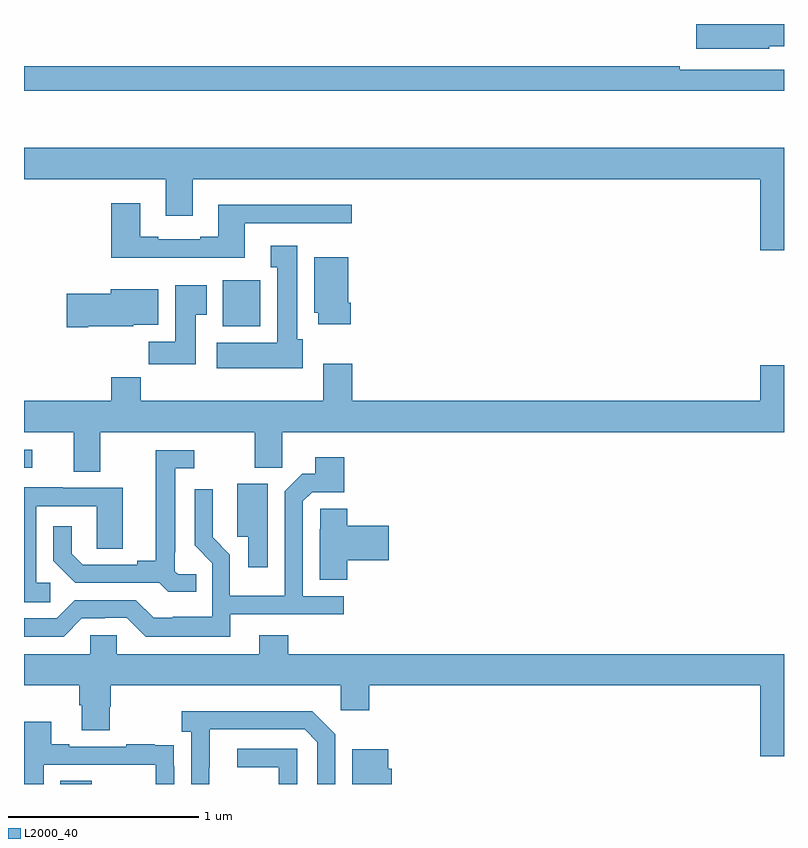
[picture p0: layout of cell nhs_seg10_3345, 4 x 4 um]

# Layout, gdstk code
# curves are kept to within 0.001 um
import gdstk
lib = gdstk.Library(unit=1e-6, precision=1e-09)
def R(c, l, rs):  # rectangles x0, y0, x1, y1
    for r in rs: c.add(gdstk.rectangle(r[:2], r[2:], *l))
def P(c, l, *ps):  # polygons
    for p in ps: c.add(gdstk.Polygon(p, *l))
L2000_40 = (2000, 40)

nhs_seg10_3345 = lib.new_cell('nhs_seg10_3345')
R(nhs_seg10_3345, L2000_40, [(293.192,1262.5,293.356,1262.516), (293,1264.164,293.044,1264.26), (294.047,1264.91,294.244,1265.152)])
P(nhs_seg10_3345, L2000_40, [(296.922,1266.384),(297,1266.384),(297,1266.5),(296.538,1266.5),(296.538,1266.371),(296.922,1266.371)],
  [(297,1266.258),(296.45,1266.258),(296.45,1266.278),(293,1266.278),(293,1266.15),(297,1266.15)],
  [(297,1265.848),(293,1265.848),(293,1265.684),(293.747,1265.684),(293.747,1265.49),(293.887,1265.49),(293.887,1265.684),(296.876,1265.684),(296.876,1265.31),(297,1265.31)],
  [(294.163,1265.451),(294.724,1265.451),(294.724,1265.548),(294.023,1265.548),(294.023,1265.38),(293.927,1265.38),(293.927,1265.367),(293.707,1265.367),(293.707,1265.38),(293.611,1265.38),(293.611,1265.557),(293.459,1265.557),(293.459,1265.27),(294.163,1265.27)],
  [(294.466,1264.842),(294.439,1264.842),(294.439,1265.332),(294.299,1265.332),(294.299,1265.219),(294.332,1265.219),(294.332,1264.822),(294.015,1264.822),(294.015,1264.688),(294.466,1264.688)],
  [(294.719,1265.032),(294.706,1265.032),(294.706,1265.272),(294.527,1265.272),(294.527,1264.98),(294.548,1264.98),(294.548,1264.92),(294.719,1264.92)],
  [(293.905,1264.969),(293.962,1264.969),(293.962,1265.125),(293.795,1265.125),(293.795,1264.828),(293.656,1264.828),(293.656,1264.71),(293.905,1264.71)],
  [(293.338,1264.91),(293.574,1264.91),(293.574,1264.916),(293.707,1264.916),(293.707,1265.104),(293.456,1265.104),(293.456,1265.081),(293.226,1265.081),(293.226,1264.903),(293.338,1264.903)],
  [(293.401,1264.352),(294.214,1264.352),(294.214,1264.165),(294.36,1264.165),(294.36,1264.352),(297,1264.352),(297,1264.705),(296.876,1264.705),(296.876,1264.516),(294.728,1264.516),(294.728,1264.711),(294.575,1264.711),(294.575,1264.516),(293.615,1264.516),(293.615,1264.64),(293.459,1264.64),(293.459,1264.516),(293,1264.516),(293,1264.352),(293.261,1264.352),(293.261,1264.144),(293.401,1264.144)],
  [(293.906,1263.603),(293.811,1263.603),(293.793,1263.621),(293.793,1263.721),(293.797,1263.721),(293.797,1264.161),(293.896,1264.161),(293.896,1264.257),(293.693,1264.257),(293.693,1263.674),(293.597,1263.674),(293.597,1263.654),(293.308,1263.654),(293.251,1263.711),(293.251,1263.856),(293.154,1263.856),(293.154,1263.674),(293.27,1263.558),(293.712,1263.558),(293.76,1263.511),(293.906,1263.511)],
  [(294.085,1263.393),(294.682,1263.393),(294.682,1263.489),(294.468,1263.489),(294.468,1263.987),(294.516,1264.035),(294.686,1264.035),(294.686,1264.219),(294.533,1264.219),(294.533,1264.134),(294.465,1264.134),(294.372,1264.041),(294.372,1263.49),(294.084,1263.49),(294.084,1263.706),(293.993,1263.798),(293.994,1264.051),(293.898,1264.051),(293.898,1263.756),(293.991,1263.663),(293.991,1263.379),(293.782,1263.379),(293.782,1263.375),(293.682,1263.375),(293.589,1263.468),(293.268,1263.468),(293.172,1263.372),(293,1263.372),(293,1263.276),(293.208,1263.276),(293.304,1263.372),(293.424,1263.372),(293.424,1263.375),(293.541,1263.375),(293.641,1263.275),(294.085,1263.275)],
  [(294.283,1264.08),(294.122,1264.08),(294.122,1263.801),(294.179,1263.801),(294.179,1263.642),(294.283,1263.642)],
  [(293.137,1263.558),(293.064,1263.558),(293.064,1263.963),(293.382,1263.963),(293.382,1263.739),(293.521,1263.739),(293.521,1264.059),(293.203,1264.059),(293.203,1264.063),(293,1264.063),(293,1263.457),(293.137,1263.457)],
  [(294.701,1263.677),(294.919,1263.677),(294.919,1263.86),(294.701,1263.86),(294.701,1263.95),(294.558,1263.95),(294.558,1263.842),(294.557,1263.842),(294.557,1263.574),(294.701,1263.574)],
  [(297,1263.184),(294.392,1263.184),(294.392,1263.283),(294.239,1263.283),(294.239,1263.184),(293.487,1263.184),(293.487,1263.282),(293.349,1263.282),(293.349,1263.184),(293,1263.184),(293,1263.02),(293.291,1263.02),(293.291,1262.914),(293.303,1262.914),(293.303,1262.782),(293.451,1262.782),(293.451,1262.907),(293.456,1262.907),(293.456,1263.02),(294.666,1263.02),(294.666,1262.889),(294.818,1262.889),(294.818,1263.02),(296.876,1263.02),(296.876,1262.646),(297,1262.646)],
  [(293.976,1262.587),(293.977,1262.787),(294.477,1262.787),(294.543,1262.721),(294.543,1262.5),(294.639,1262.5),(294.639,1262.763),(294.518,1262.884),(293.829,1262.884),(293.829,1262.774),(293.88,1262.774),(293.88,1262.5),(293.976,1262.5)],
  [(293.103,1262.601),(293.694,1262.601),(293.694,1262.5),(293.79,1262.5),(293.79,1262.594),(293.789,1262.594),(293.789,1262.703),(293.687,1262.703),(293.687,1262.71),(293.539,1262.71),(293.539,1262.697),(293.239,1262.697),(293.239,1262.71),(293.143,1262.71),(293.143,1262.827),(293,1262.827),(293,1262.5),(293.103,1262.5)],
  [(294.438,1262.685),(294.123,1262.685),(294.123,1262.589),(294.342,1262.589),(294.342,1262.5),(294.438,1262.5)],
  [(294.935,1262.579),(294.916,1262.579),(294.916,1262.683),(294.728,1262.683),(294.728,1262.5),(294.935,1262.5)])

lib.write_gds('nhs_seg10_3345.gds')
